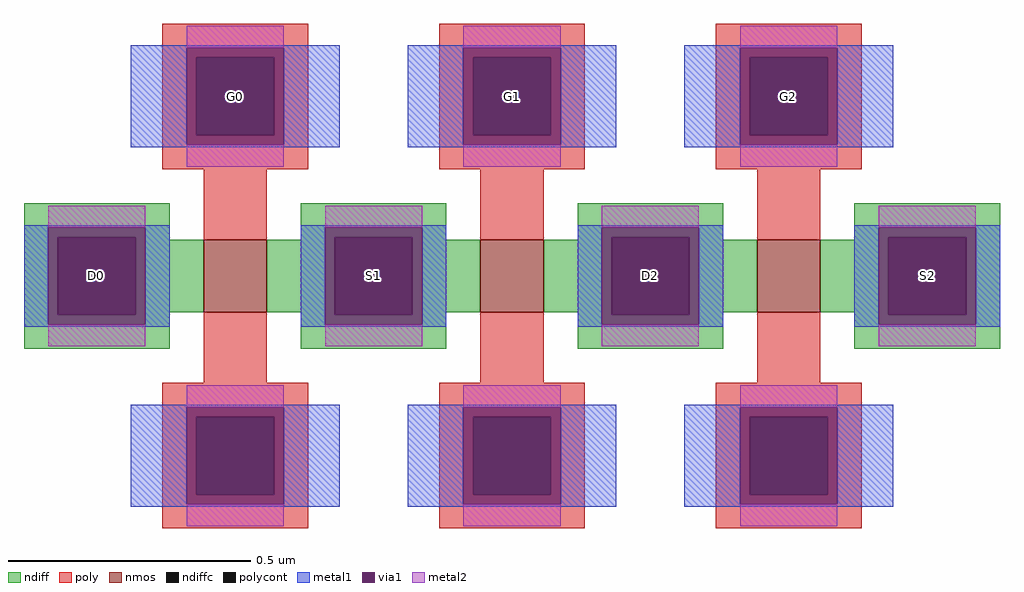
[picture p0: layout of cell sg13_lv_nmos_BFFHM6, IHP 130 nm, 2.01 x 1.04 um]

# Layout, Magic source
magic
tech ihp-sg13cmos5l
magscale 1 2
<< nmos >>
rect -127 -15 -101 15
rect -13 -15 13 15
rect 101 -15 127 15
<< ndiff >>
rect -201 16 -141 30
rect -201 -16 -187 16
rect -155 15 -141 16
rect -87 16 -27 30
rect -87 15 -73 16
rect -155 -15 -127 15
rect -101 -15 -73 15
rect -155 -16 -141 -15
rect -201 -30 -141 -16
rect -87 -16 -73 -15
rect -41 15 -27 16
rect 27 16 87 30
rect 27 15 41 16
rect -41 -15 -13 15
rect 13 -15 41 15
rect -41 -16 -27 -15
rect -87 -30 -27 -16
rect 27 -16 41 -15
rect 73 15 87 16
rect 141 16 201 30
rect 141 15 155 16
rect 73 -15 101 15
rect 127 -15 155 15
rect 73 -16 87 -15
rect 27 -30 87 -16
rect 141 -16 155 -15
rect 187 -16 201 16
rect 141 -30 201 -16
<< ndiffc >>
rect -187 -16 -155 16
rect -73 -16 -41 16
rect 41 -16 73 16
rect 155 -16 187 16
<< poly >>
rect -144 90 -84 104
rect -144 58 -130 90
rect -98 58 -84 90
rect -144 44 -84 58
rect -30 90 30 104
rect -30 58 -16 90
rect 16 58 30 90
rect -30 44 30 58
rect 84 90 144 104
rect 84 58 98 90
rect 130 58 144 90
rect 84 44 144 58
rect -127 15 -101 44
rect -127 -44 -101 -15
rect -13 15 13 44
rect -13 -44 13 -15
rect 101 15 127 44
rect 101 -44 127 -15
rect -144 -58 -84 -44
rect -144 -90 -130 -58
rect -98 -90 -84 -58
rect -144 -104 -84 -90
rect -30 -58 30 -44
rect -30 -90 -16 -58
rect 16 -90 30 -58
rect -30 -104 30 -90
rect 84 -58 144 -44
rect 84 -90 98 -58
rect 130 -90 144 -58
rect 84 -104 144 -90
<< polycont >>
rect -130 58 -98 90
rect -16 58 16 90
rect 98 58 130 90
rect -130 -90 -98 -58
rect -16 -90 16 -58
rect 98 -90 130 -58
<< metal1 >>
rect -157 94 -71 95
rect -157 54 -134 94
rect -94 54 -71 94
rect -157 53 -71 54
rect -43 94 43 95
rect -43 54 -20 94
rect 20 54 43 94
rect -43 53 43 54
rect 71 94 157 95
rect 71 54 94 94
rect 134 54 157 94
rect 71 53 157 54
rect -201 20 -141 21
rect -201 -20 -191 20
rect -151 -20 -141 20
rect -201 -21 -141 -20
rect -87 20 -27 21
rect -87 -20 -77 20
rect -37 -20 -27 20
rect -87 -21 -27 -20
rect 27 20 87 21
rect 27 -20 37 20
rect 77 -20 87 20
rect 27 -21 87 -20
rect 141 20 201 21
rect 141 -20 151 20
rect 191 -20 201 20
rect 141 -21 201 -20
rect -157 -54 -71 -53
rect -157 -94 -134 -54
rect -94 -94 -71 -54
rect -157 -95 -71 -94
rect -43 -54 43 -53
rect -43 -94 -20 -54
rect 20 -94 43 -54
rect -43 -95 43 -94
rect 71 -54 157 -53
rect 71 -94 94 -54
rect 134 -94 157 -54
rect 71 -95 157 -94
<< via1 >>
rect -134 90 -94 94
rect -134 58 -130 90
rect -130 58 -98 90
rect -98 58 -94 90
rect -134 54 -94 58
rect -20 90 20 94
rect -20 58 -16 90
rect -16 58 16 90
rect 16 58 20 90
rect -20 54 20 58
rect 94 90 134 94
rect 94 58 98 90
rect 98 58 130 90
rect 130 58 134 90
rect 94 54 134 58
rect -191 16 -151 20
rect -191 -16 -187 16
rect -187 -16 -155 16
rect -155 -16 -151 16
rect -191 -20 -151 -16
rect -77 16 -37 20
rect -77 -16 -73 16
rect -73 -16 -41 16
rect -41 -16 -37 16
rect -77 -20 -37 -16
rect 37 16 77 20
rect 37 -16 41 16
rect 41 -16 73 16
rect 73 -16 77 16
rect 37 -20 77 -16
rect 151 16 191 20
rect 151 -16 155 16
rect 155 -16 187 16
rect 187 -16 191 16
rect 151 -20 191 -16
rect -134 -58 -94 -54
rect -134 -90 -130 -58
rect -130 -90 -98 -58
rect -98 -90 -94 -58
rect -134 -94 -94 -90
rect -20 -58 20 -54
rect -20 -90 -16 -58
rect -16 -90 16 -58
rect 16 -90 20 -58
rect -20 -94 20 -90
rect 94 -58 134 -54
rect 94 -90 98 -58
rect 98 -90 130 -58
rect 130 -90 134 -58
rect 94 -94 134 -90
<< metal2 >>
rect -134 94 -94 103
rect -134 45 -94 54
rect -20 94 20 103
rect -20 45 20 54
rect 94 94 134 103
rect 94 45 134 54
rect -191 20 -151 29
rect -191 -29 -151 -20
rect -77 20 -37 29
rect -77 -29 -37 -20
rect 37 20 77 29
rect 37 -29 77 -20
rect 151 20 191 29
rect 151 -29 191 -20
rect -134 -54 -94 -45
rect -134 -103 -94 -94
rect -20 -54 20 -45
rect -20 -103 20 -94
rect 94 -54 134 -45
rect 94 -103 134 -94
<< labels >>
rlabel ndiffc -171 0 -171 0 0 D0
port 8 nsew
rlabel polycont -114 74 -114 74 0 G0
port 9 nsew
rlabel ndiffc -57 0 -57 0 0 S1
port 10 nsew
rlabel polycont 0 74 0 74 0 G1
port 11 nsew
rlabel ndiffc 57 0 57 0 0 D2
port 12 nsew
rlabel ndiffc 171 0 171 0 0 S2
port 13 nsew
rlabel polycont 114 74 114 74 0 G2
port 14 nsew
<< properties >>
string gencell sg13_lv_nmos
string library sg13cmos5l
string parameters w 0.15 l 0.13 m 1 ng 3 diffcov 100 polycov 100 guard 0 glc 1 grc 1 gtc 1 gbc 1 tbcov 100 rlcov 100 topc 1 botc 1 poverlap 0 doverlap 1 lmin 0.13 wmin 0.15 class mosfet compatible {sg13_lv_nmos sg13_hv_nmos} full_metal 1 conn_gates 0 gate_ring 0 doports 1 viasrc 100 viadrn 100 viagate 100 ccols 1 viagb 0 viagr 0 viagl 0 viagt 0
<< end >>
